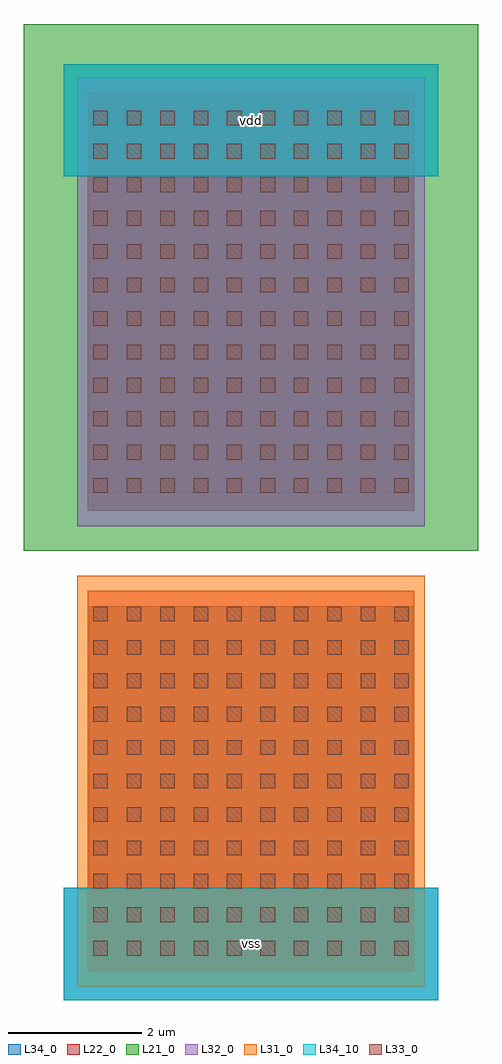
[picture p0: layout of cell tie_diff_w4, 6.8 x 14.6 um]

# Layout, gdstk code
import gdstk
lib = gdstk.Library(unit=1e-6, precision=1e-09)
def R(c, l, rs):  # rectangles x0, y0, x1, y1
    for r in rs: c.add(gdstk.rectangle(r[:2], r[2:], *l))
def A(c, l, x, y, w, h, nx, ny, dx, dy):  # array of equal rectangles
    R(c, l, [(x+i*dx, y+j*dy, x+i*dx+w, y+j*dy+h) for i in range(nx) for j in range(ny)])
def P(c, l, *ps):  # polygons
    for p in ps: c.add(gdstk.Polygon(p, *l))
L21_0 = (21, 0)
L22_0 = (22, 0)
L31_0 = (31, 0)
L32_0 = (32, 0)
L33_0 = (33, 0)
L34_0 = (34, 0)
L34_10 = (34, 10)

tie_diff_w4 = lib.new_cell('tie_diff_w4')
R(tie_diff_w4, L21_0, [(-0.6,6.72,6.2,14.6)])
R(tie_diff_w4, L22_0, [(0.36,0.43,5.24,6.12), (0.36,7.32,5.24,13.57)])
R(tie_diff_w4, L31_0, [(0.2,0.2,5.4,6.35)])
R(tie_diff_w4, L32_0, [(0.2,7.09,5.4,13.8)])
A(tie_diff_w4, L33_0, 0.44, 0.665, 0.22, 0.22, 10, 11, 0.5, 0.5)
A(tie_diff_w4, L33_0, 0.44, 7.585, 0.22, 0.22, 10, 12, 0.5, 0.5)
P(tie_diff_w4, L34_0, [(0.38,7.58),(0.38,12.32),(0,12.32),(0,14),(5.6,14),(5.6,12.32),(5.22,12.32),(5.22,7.58)],
  [(0,0),(0,1.68),(0.38,1.68),(0.38,5.89),(5.22,5.89),(5.22,1.68),(5.6,1.68),(5.6,0)])
R(tie_diff_w4, L34_10, [(0,0,5.6,1.68), (0,12.32,5.6,14)])
tie_diff_w4.add(gdstk.Label('vdd', (2.8,13.16), layer=34, texttype=10))
tie_diff_w4.add(gdstk.Label('vss', (2.8,0.84), layer=34, texttype=10))

lib.write_gds('tie_diff_w4.gds')
